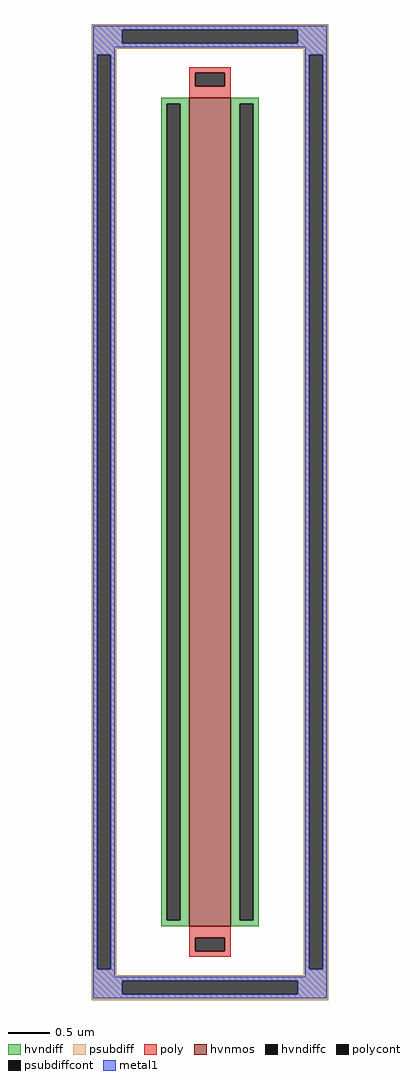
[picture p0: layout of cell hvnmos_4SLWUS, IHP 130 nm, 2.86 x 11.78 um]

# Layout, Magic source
magic
tech ihp-sg13g2
<< hvnmos >>
rect -25 -500 25 500
<< hvndiff >>
rect -59 493 -25 500
rect -59 -493 -52 493
rect -36 -493 -25 493
rect -59 -500 -25 -493
rect 25 493 59 500
rect 25 -493 36 493
rect 52 -493 59 493
rect 25 -500 59 -493
<< hvndiffc >>
rect -52 -493 -36 493
rect 36 -493 52 493
<< psubdiff >>
rect -143 582 143 589
rect -143 566 -106 582
rect 106 566 143 582
rect -143 559 143 566
rect -143 552 -113 559
rect -143 -552 -136 552
rect -120 -552 -113 552
rect 113 552 143 559
rect -143 -559 -113 -552
rect 113 -552 120 552
rect 136 -552 143 552
rect 113 -559 143 -552
rect -143 -566 143 -559
rect -143 -582 -106 -566
rect 106 -582 143 -566
rect -143 -589 143 -582
<< psubdiffcont >>
rect -106 566 106 582
rect -136 -552 -120 552
rect 120 -552 136 552
rect -106 -582 106 -566
<< poly >>
rect -25 530 25 537
rect -25 514 -18 530
rect 18 514 25 530
rect -25 500 25 514
rect -25 -514 25 -500
rect -25 -530 -18 -514
rect 18 -530 25 -514
rect -25 -537 25 -530
<< polycont >>
rect -18 514 18 530
rect -18 -530 18 -514
<< metal1 >>
rect -141 582 141 587
rect -141 566 -106 582
rect 106 566 141 582
rect -141 561 141 566
rect -141 552 -115 561
rect -141 -552 -136 552
rect -120 -552 -115 552
rect 115 552 141 561
rect -141 -561 -115 -552
rect 115 -552 120 552
rect 136 -552 141 552
rect 115 -561 141 -552
rect -141 -566 141 -561
rect -141 -582 -106 -566
rect 106 -582 141 -566
rect -141 -587 141 -582
<< properties >>
string gencell hvnmos
string library sg13g2_devstdin
string parameters w 10 l 0.5 nf 1 nx 1 dx 0.22 ny 1 dy 0.18 wmin 0.50 lmin 0.50 class mosfet gcontcov_t 100 gcontcov_b 100 dcontcov_l 100 dcontcov_r 100 guard_distf 1 glc 1 grc 1 gtc 1 gbc 1
<< end >>
